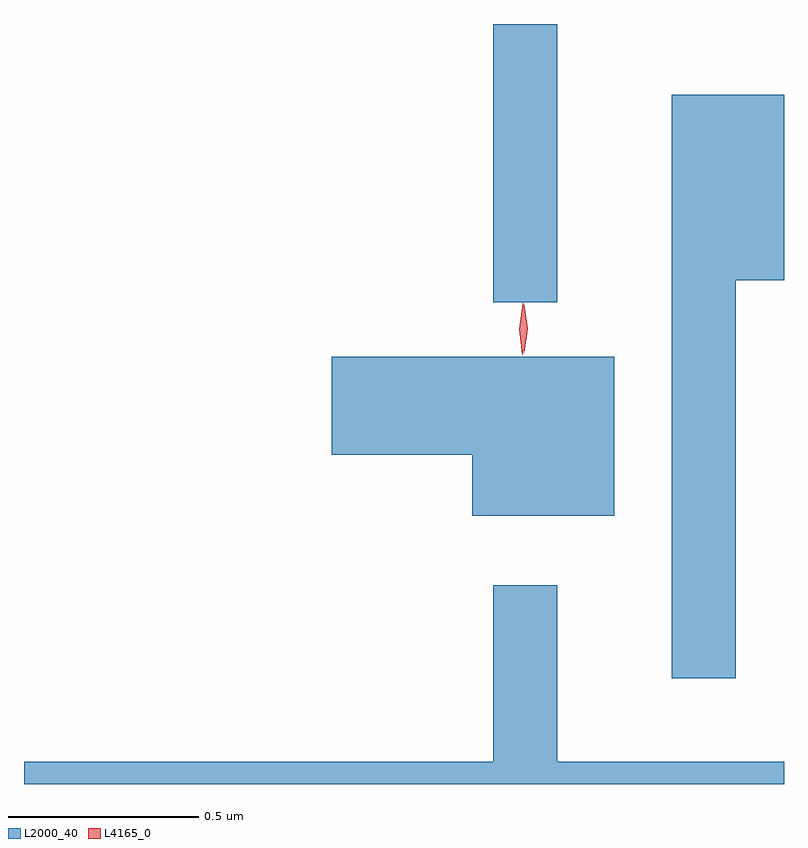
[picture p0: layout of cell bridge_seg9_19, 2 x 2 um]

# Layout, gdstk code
import gdstk
lib = gdstk.Library(unit=1e-6, precision=1e-09)
def R(c, l, rs):  # rectangles x0, y0, x1, y1
    for r in rs: c.add(gdstk.rectangle(r[:2], r[2:], *l))
def P(c, l, *ps):  # polygons
    for p in ps: c.add(gdstk.Polygon(p, *l))
L2000_40 = (2000, 40)
L4165_0 = (4165, 0)

bridge_seg9_19 = lib.new_cell('bridge_seg9_19')
R(bridge_seg9_19, L2000_40, [(1580.651,2068.773,1580.819,2069.505)])
P(bridge_seg9_19, L2000_40, [(1581.289,2068.831),(1581.416,2068.831),(1581.416,2069.319),(1581.121,2069.319),(1581.121,2067.783),(1581.289,2067.783)],
  [(1580.969,2068.629),(1580.226,2068.629),(1580.226,2068.371),(1580.596,2068.371),(1580.596,2068.211),(1580.969,2068.211)],
  [(1581.416,2067.564),(1580.819,2067.564),(1580.819,2068.028),(1580.651,2068.028),(1580.651,2067.564),(1579.416,2067.564),(1579.416,2067.505),(1581.416,2067.505)])
P(bridge_seg9_19, L4165_0, [(1580.732,2068.64),(1580.732,2068.64),(1580.722,2068.703),(1580.732,2068.766),(1580.732,2068.767),(1580.733,2068.766),(1580.742,2068.703),(1580.733,2068.64)],
  [(1580.727,2068.634),(1580.719,2068.702),(1580.729,2068.77),(1580.73,2068.77),(1580.73,2068.77),(1580.739,2068.702),(1580.728,2068.634),(1580.728,2068.634)])

lib.write_gds('bridge_seg9_19.gds')
